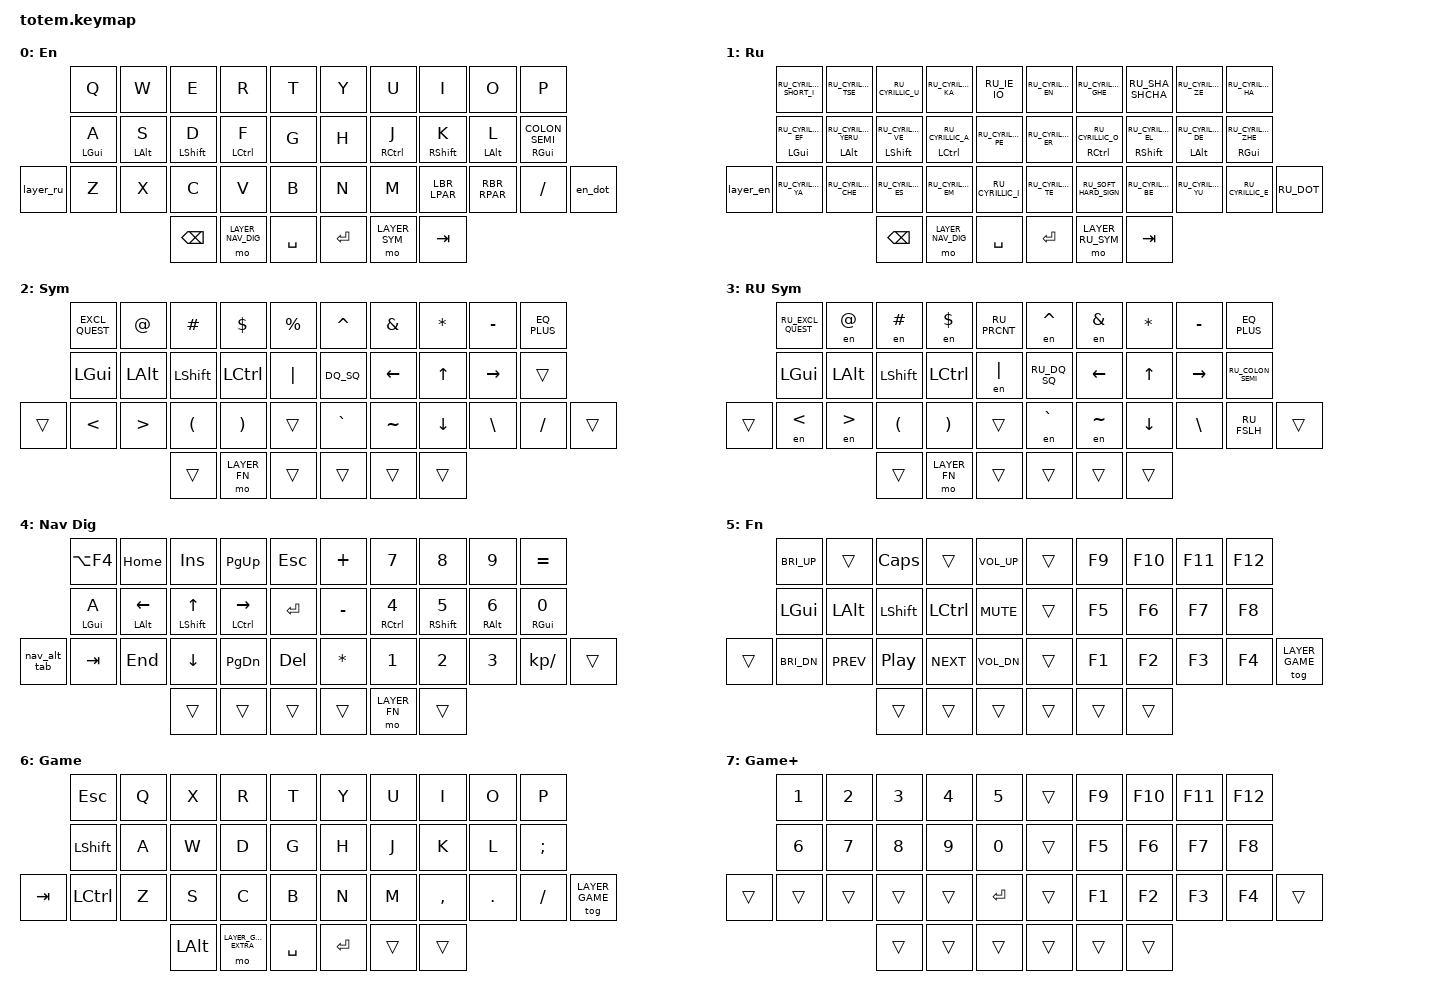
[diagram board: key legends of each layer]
//
//                                                        ▀▀▀▀▀     ▀▀▀▀▀          ▀▀█▀▀
//                                                        ▄▀▀▀▄  ▄  ▄▀▀▀▄  ▄  ▄▀▀▀▄  █  ▄▀▀▀▄
//                                                        █   █  █  █   █  █  █   █  █  █   █
//                                                         ▀▀▀   █   ▀▀▀   █   ▀▀▀   ▀   ▀▀▀
//                                                               █      ▄▄▄█▄▄▄    █   █  
//                                                               ▀      █  █  █     █▄█
//                                                             ▀▀▀▀▀    █  █  █      ▀
//                                                                      ▀  ▀  ▀
//
// ▄▄▄▄▄▄▄▄▄▄▄▄▄▄▄▄▄▄▄▄▄▄▄▄▄▄▄▄▄▄▄▄▄▄▄▄▄▄▄▄▄▄▄▄▄▄▄▄▄▄▄▄▄▄▄▄▄▄▄▄▄▄▄▄▄▄▄▄▄▄▄▄▄▄▄▄▄▄▄▄▄▄▄▄▄▄▄▄▄▄▄▄▄▄▄▄▄▄▄▄▄▄▄▄▄▄▄▄▄▄▄▄▄▄▄▄▄▄▄▄▄▄▄▄▄▄▄▄▄▄▄▄▄▄▄▄▄▄▄▄▄▄▄▄▄▄▄▄▄

#include "keys_ru.h"
#include "keymap_config.h"
#include <behaviors.dtsi>
#include <dt-bindings/zmk/keys.h>

/ {
    behaviors {
        nav_alt_tab: nav_alt_tab {
            compatible = "zmk,behavior-layer-alt-tab";
            #binding-cells = <0>;
            release-layer = <LAYER_NAV_DIG>;
        };

        hml: home_row_mod_left {
            compatible = "zmk,behavior-hold-tap";
            #binding-cells = <2>;
            HRM_COMMON_PROPERTIES
            bindings = <&kp>, <&kp>;

            hold-trigger-key-positions = <RIGHT_HAND_POSITIONS>;
            label = "HML";
        };

        hmr: home_row_mod_right {
            compatible = "zmk,behavior-hold-tap";
            #binding-cells = <2>;
            HRM_COMMON_PROPERTIES
            bindings = <&kp>, <&kp>;

            hold-trigger-key-positions = <LEFT_HAND_POSITIONS>;
            label = "HMR";
        };

        en_dot: en_dot {
            compatible = "zmk,behavior-mod-morph";
            label = "EN_DOT";
            bindings = <&kp DOT>, <&kp COMMA>;

            #binding-cells = <0>;
            mods = <(MOD_LSFT|MOD_RSFT)>;
        };

        RU_SOFT_HARD_SIGN: RU_SOFT_HARD_SIGN {
            compatible = "zmk,behavior-mod-morph";
            label = "RU_SOFT_HARD_SIGN";
            bindings = <&kp RU_CYRILLIC_SOFT_SIGN>, <&kp RU_CYRILLIC_HARD_SIGN>;

            #binding-cells = <0>;
            mods = <(MOD_LALT|MOD_RALT)>;
        };

        RU_SHA_SHCHA: RU_SHA_SHCHA {
            compatible = "zmk,behavior-mod-morph";
            label = "RU_SHA_SHCHA";
            bindings = <&kp RU_CYRILLIC_SHA>, <&kp RU_CYRILLIC_SHCHA>;

            #binding-cells = <0>;
            mods = <(MOD_LALT|MOD_RALT)>;
        };

        RU_IE_IO: RU_IE_IO {
            compatible = "zmk,behavior-mod-morph";
            label = "RU_IE_IO";
            bindings = <&kp RU_CYRILLIC_IE>, <&kp RU_CYRILLIC_IO>;

            #binding-cells = <0>;
            mods = <(MOD_LALT|MOD_RALT)>;
        };

        COLON_SEMI: COLON_SEMI {
            compatible = "zmk,behavior-mod-morph";
            label = "COLON_SEMI";
            bindings = <&kp COLON>, <&kp SEMI>;

            #binding-cells = <0>;
            mods = <(MOD_RSFT|MOD_LSFT)>;
        };

        EXCL_QUEST: EXCL_QUEST {
            compatible = "zmk,behavior-mod-morph";
            label = "EXCL_QUEST";
            bindings = <&kp EXCL>, <&kp QUESTION>;

            #binding-cells = <0>;
            mods = <(MOD_RSFT|MOD_LSFT)>;
        };

        DQ_SQ: DQ_SQ {
            compatible = "zmk,behavior-mod-morph";
            label = "DQ_SQ";
            bindings = <&kp DOUBLE_QUOTES>, <&kp SINGLE_QUOTE>;

            #binding-cells = <0>;
            mods = <(MOD_LSFT|MOD_RSFT)>;
        };

        RU_COLON_SEMI: RU_COLON_SEMI {
            compatible = "zmk,behavior-mod-morph";
            label = "RU_COLON_SEMI";
            bindings = <&kp RU_COLON>, <&kp RU_SEMI>;

            #binding-cells = <0>;
            mods = <(MOD_RSFT|MOD_LSFT)>;
        };

        RU_EXCL_QUEST: RU_EXCL_QUEST {
            compatible = "zmk,behavior-mod-morph";
            label = "RU_EXCL_QUEST";
            bindings = <&kp RU_EXCL>, <&kp RU_QMARK>;

            #binding-cells = <0>;
            mods = <(MOD_LSFT|MOD_RSFT)>;
        };

        RU_DQ_SQ: RU_DQ_SQ {
            compatible = "zmk,behavior-mod-morph";
            label = "RU_DQ_SQ";
            bindings = <&kp RU_DQT>, <&en SINGLE_QUOTE>;

            #binding-cells = <0>;
            mods = <(MOD_LSFT|MOD_RSFT)>;
        };

        hmr_colon: hmr_colon {
            compatible = "zmk,behavior-hold-tap";
            #binding-cells = <2>;
            HRM_COMMON_PROPERTIES
            bindings = <&kp>, <&COLON_SEMI>;

            hold-trigger-key-positions = <LEFT_HAND_POSITIONS>;
            label = "HMR_COLON";
        };

        EQ_PLUS: EQ_PLUS {
            compatible = "zmk,behavior-mod-morph";
            label = "EQ_PLUS";
            bindings = <&kp EQUAL>, <&kp KP_PLUS>;

            #binding-cells = <0>;
            mods = <(MOD_RSFT|MOD_LSFT)>;
        };

        LBR_LPAR: LBR_LPAR {
            compatible = "zmk,behavior-mod-morph";
            label = "LBR_LPAR";
            bindings = <&kp LEFT_BRACKET>, <&kp LPAR>;

            #binding-cells = <0>;
            mods = <(MOD_LALT|MOD_RALT)>;
        };

        RBR_RPAR: RBR_RPAR {
            compatible = "zmk,behavior-mod-morph";
            label = "RBR_RPAR";
            bindings = <&kp RIGHT_BRACKET>, <&kp RPAR>;

            #binding-cells = <0>;
            mods = <(MOD_LALT|MOD_RALT)>;
        };
    };

    macros {
        to_ru: to_ru {
            compatible = "zmk,behavior-macro";
            #binding-cells = <0>;
            bindings = <&kp LS(LC(N2))>;
            label = "TO_RU";
            wait-ms = <0>;
            tap-ms = <30>;
        };

        to_en: to_en {
            compatible = "zmk,behavior-macro";
            #binding-cells = <0>;
            bindings = <&kp LS(LC(N1))>;
            label = "TO_EN";
            wait-ms = <0>;
            tap-ms = <30>;
        };

        layer_ru: layer_ru {
            compatible = "zmk,behavior-macro";
            #binding-cells = <0>;
            bindings = <&to LAYER_RU &to_ru>;
            label = "LAYER_RU";
            wait-ms = <0>;
            tap-ms = <30>;
        };

        layer_en: layer_en {
            compatible = "zmk,behavior-macro";
            #binding-cells = <0>;
            bindings = <&to LAYER_EN &to_en>;
            label = "LAYER_EN";
            wait-ms = <0>;
            tap-ms = <30>;
        };

        en: en {
            compatible = "zmk,behavior-macro-one-param";
            #binding-cells = <1>;
            bindings =
                <&to_en>,
                <&macro_press>,
                <&macro_param_1to1 &kp MACRO_PLACEHOLDER>,
                <&macro_pause_for_release>,
                <&macro_release>,
                <&macro_param_1to1 &kp MACRO_PLACEHOLDER>,
                <&macro_tap>,
                <&to_ru>;

            label = "EN";
            wait-ms = <0>;
            tap-ms = <30>;
        };
    };

    keymap {
        compatible = "zmk,keymap";

        en {
            bindings = <
           &kp Q            &kp W            &kp E              &kp R                &kp T        &kp Y    &kp U                 &kp I               &kp O            &kp P
           &hml LEFT_GUI A  &hml LEFT_ALT S  &hml LEFT_SHIFT D  &hml LEFT_CONTROL F  &kp G        &kp H    &hmr RIGHT_CONTROL J  &hmr RIGHT_SHIFT K  &hmr LEFT_ALT L  &hmr_colon RIGHT_GUI 0
&layer_ru  &kp Z            &kp X            &kp C              &kp V                &kp B        &kp N    &kp M                 &LBR_LPAR           &RBR_RPAR        &kp FSLH                &en_dot
                                             &kp BACKSPACE      &mo LAYER_NAV_DIG    &kp SPACE    &kp RET  &mo LAYER_SYM         &kp TAB
            >;

            display-name = "En";
            label = "En";
        };

        ru {
            bindings = <
           &kp RU_CYRILLIC_SHORT_I       &kp RU_CYRILLIC_TSE             &kp RU_CYRILLIC_U               &kp RU_CYRILLIC_KA               &RU_IE_IO             &kp RU_CYRILLIC_EN  &kp RU_CYRILLIC_GHE               &RU_SHA_SHCHA                    &kp RU_CYRILLIC_ZE            &kp RU_CYRILLIC_HA
           &hml LEFT_GUI RU_CYRILLIC_EF  &hml LEFT_ALT RU_CYRILLIC_YERU  &hml LEFT_SHIFT RU_CYRILLIC_VE  &hml LEFT_CONTROL RU_CYRILLIC_A  &kp RU_CYRILLIC_PE    &kp RU_CYRILLIC_ER  &hmr RIGHT_CONTROL RU_CYRILLIC_O  &hmr RIGHT_SHIFT RU_CYRILLIC_EL  &hmr LEFT_ALT RU_CYRILLIC_DE  &hmr RIGHT_GUI RU_CYRILLIC_ZHE
&layer_en  &kp RU_CYRILLIC_YA            &kp RU_CYRILLIC_CHE             &kp RU_CYRILLIC_ES              &kp RU_CYRILLIC_EM               &kp RU_CYRILLIC_I     &kp RU_CYRILLIC_TE  &RU_SOFT_HARD_SIGN                &kp RU_CYRILLIC_BE               &kp RU_CYRILLIC_YU            &kp RU_CYRILLIC_E               &kp RU_DOT
                                                                         &kp BACKSPACE                   &mo LAYER_NAV_DIG                &kp SPACE             &kp RET             &mo LAYER_RU_SYM                  &kp TAB
            >;

            display-name = "Ru";
            label = "Ru";
        };

        sym {
            bindings = <
        &EXCL_QUEST    &kp AT            &kp HASH        &kp DOLLAR        &kp PERCENT    &kp CARET  &kp AMPERSAND   &kp ASTERISK    &kp MINUS        &EQ_PLUS
        &kp LEFT_GUI   &kp LEFT_ALT      &kp LEFT_SHIFT  &kp LEFT_CONTROL  &kp PIPE       &DQ_SQ     &kp LEFT_ARROW  &kp UP_ARROW    &kp RIGHT_ARROW  &trans
&trans  &kp LESS_THAN  &kp GREATER_THAN  &kp LPAR        &kp RPAR          &trans         &kp GRAVE  &kp TILDE       &kp DOWN_ARROW  &kp BACKSLASH    &kp SLASH  &trans
                                         &trans          &mo LAYER_FN      &trans         &trans     &trans          &trans
            >;

            label = "Sym";
        };

        ru_sym {
            label = "RU Sym";
            bindings = <
        &RU_EXCL_QUEST  &en AT            &en HASH        &en DOLLAR        &kp RU_PRCNT &en CARET  &en AMPS        &kp ASTRK       &kp MINUS        &EQ_PLUS
        &kp LEFT_GUI    &kp LEFT_ALT      &kp LEFT_SHIFT  &kp LEFT_CONTROL  &en PIPE     &RU_DQ_SQ  &kp LEFT_ARROW  &kp UP_ARROW    &kp RIGHT_ARROW  &RU_COLON_SEMI
&trans  &en LESS_THAN   &en GREATER_THAN  &kp LPAR        &kp RPAR          &trans       &en GRAVE  &en TILDE       &kp DOWN_ARROW  &kp BACKSLASH    &kp RU_FSLH     &trans
                                          &trans          &mo LAYER_FN      &trans       &trans     &trans          &trans
            >;
        };

        nav_dig {
            bindings = <
                &kp LA(F4)       &kp HOME                  &kp INS                   &kp PG_UP                      &kp ESC       &kp PLUS   &kp N7                 &kp N8               &kp N9             &kp EQUAL
                &hml LEFT_GUI A  &hml LEFT_ALT LEFT_ARROW  &hml LEFT_SHIFT UP_ARROW  &hml LEFT_CONTROL RIGHT_ARROW  &kp RET       &kp MINUS  &hmr RIGHT_CONTROL N4  &hmr RIGHT_SHIFT N5  &hmr RIGHT_ALT N6  &hmr RIGHT_GUI N0
&nav_alt_tab    &kp TAB          &kp END                   &kp DOWN_ARROW            &kp PG_DN                      &kp DELETE    &kp ASTRK  &kp N1                 &kp N2               &kp N3             &kp KP_DIVIDE      &trans
                                                           &trans                    &trans                         &trans        &trans     &mo LAYER_FN           &trans
            >;

            label = "Nav Dig";
        };

        fn {
            bindings = <
        &kp C_BRI_UP  &trans        &kp CAPSLOCK      &trans            &kp C_VOL_UP    &trans  &kp F9  &kp F10  &kp F11  &kp F12
        &kp LEFT_GUI  &kp LEFT_ALT  &kp LSHFT         &kp LEFT_CONTROL  &kp C_MUTE      &trans  &kp F5  &kp F6   &kp F7   &kp F8
&trans  &kp C_BRI_DN  &kp C_PREV    &kp C_PLAY_PAUSE  &kp C_NEXT        &kp C_VOL_DN    &trans  &kp F1  &kp F2   &kp F3   &kp F4   &tog LAYER_GAME
                                    &trans            &trans            &trans          &trans  &trans  &trans
            >;

            label = "Fn";
        };

        Game {
            bindings = <
         &kp ESC    &kp Q  &kp X     &kp R  &kp T        &kp Y      &kp U   &kp I      &kp O    &kp P
         &kp LSHFT  &kp A  &kp W     &kp D  &kp G        &kp H      &kp J   &kp K      &kp L    &kp SEMI
&kp TAB  &kp LCTRL  &kp Z  &kp S     &kp C  &kp B        &kp N      &kp M   &kp COMMA  &kp DOT  &kp FSLH  &tog LAYER_GAME
                           &kp LALT  &mo LAYER_GAME_EXTRA  &kp SPACE    &kp ENTER  &trans  &trans
            >;

            label = "Game";
        };

        Game+ {
            bindings = <
        &kp N1  &kp N2  &kp N3  &kp N4  &kp N5     &trans  &kp F9  &kp F10  &kp F11  &kp F12
        &kp N6  &kp N7  &kp N8  &kp N9  &kp N0     &trans  &kp F5  &kp F6   &kp F7   &kp F8
&trans  &trans  &trans  &trans  &trans  &kp RET    &trans  &kp F1  &kp F2   &kp F3   &kp F4   &trans
                        &trans  &trans  &trans     &trans  &trans  &trans
            >;

            label = "Game+";
        };
    };

};
